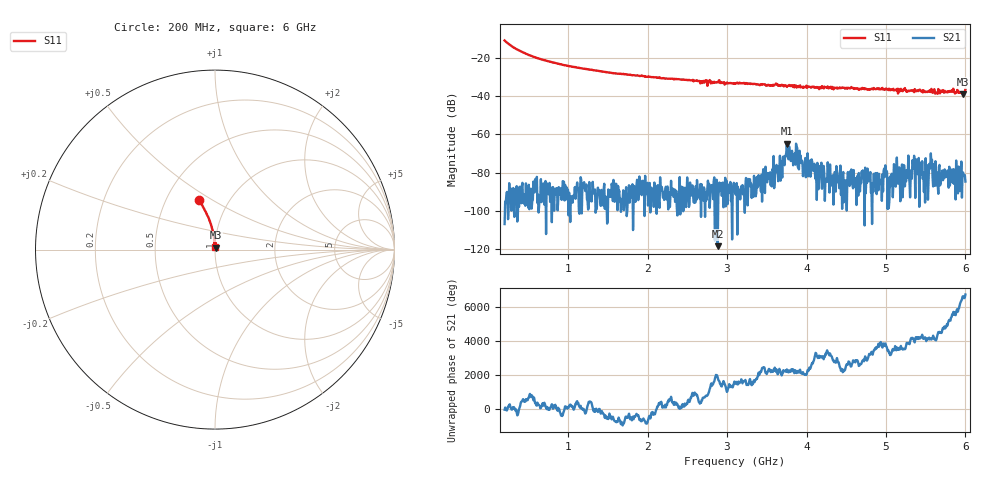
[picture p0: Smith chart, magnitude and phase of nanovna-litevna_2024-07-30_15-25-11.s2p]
! NanoVNA-App by OneOfEleven et al v1.1.209 (+OD15)
! Date: 2024-07-30 15:25:13
! Start: 200MHz Stop: 6GHz Points: 801
! S-Parameter data: F S11 S21 S12 S22
# Hz S RI R 50
!  Frequency  S11_Real  S11_Imag  S21_Real  S21_Imag  S12_Real  S12_Imag  S22_Real  S22_Imag
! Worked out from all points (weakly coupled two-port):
!   801 points, 200 MHz to 6 GHz, reference 50 ohm
!   highest |S21| = -64.77 dB at 3.752 GHz (marker M1); lowest = -118.5 dB at 2.882 GHz (marker M2)
!   lowest |S11| = -38.9 dB at 5.971 GHz (marker M3), VSWR 1.02, Z = 50.4 + j1.07 ohm
!   |S11| at or under -10 dB: start of sweep to end of sweep
!   S12 and S22 are empty: the file has one direction only
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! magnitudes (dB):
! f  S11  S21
! 200 MHz  -10.8  -106.9
! 591.5 MHz  -19.7  -89.4
! 1.171 GHz  -25.4  -101.3
! 2.136 GHz  -30.2  -97.5
! 2.882 GHz  -32.7  -118.5
! 3.1 GHz  -33.2  -87.4
! 3.535 GHz  -34.5  -83.0
! 3.666 GHz  -34.4  -71.1
! 3.752 GHz  -35.1  -64.8
! 3.897 GHz  -34.6  -77.1
! 3.977 GHz  -35.2  -76.8
! 4.072 GHz  -34.9  -74.2
! 4.137 GHz  -35.3  -74.9
! 4.332 GHz  -35.9  -81.3
! 5.036 GHz  -36.8  -98.6
! 5.297 GHz  -37.3  -85.0
! 5.362 GHz  -36.2  -75.7
! 5.492 GHz  -37.8  -95.6
! 5.572 GHz  -36.1  -75.6
! 5.71 GHz  -37.5  -78.8
! 5.971 GHz  -38.9  -79.9
! 6 GHz  -36.4  -84.7
